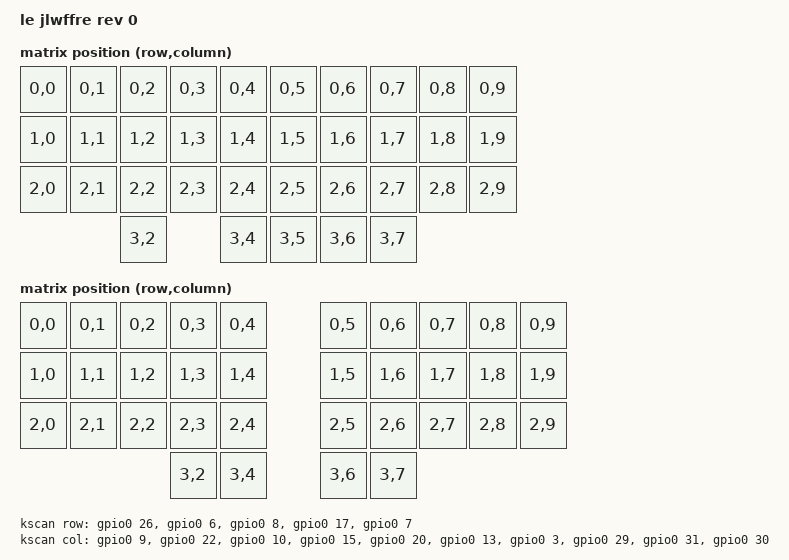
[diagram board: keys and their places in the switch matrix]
/*
 * Copyright (c) 2024 The ZMK Contributors
 *
 * SPDX-License-Identifier: MIT
 */

/dts-v1/;
#include <nordic/nrf52840_qiaa.dtsi>

#include <physical_layouts.dtsi>
#include <dt-bindings/zmk/matrix_transform.h>

#include "le_jlwffre-pinctrl.dtsi"
#include "le_jlwffre-layouts.dtsi"

/ {
    model = "le jlwffre rev 0";
    compatible = "jlw-kb,jlwffre";

    chosen {
        zephyr,code-partition = &code_partition;
        zephyr,sram = &sram0;
        zephyr,flash = &flash0;
        zmk,battery = &fuelgauge;
        zmk,kscan = &side_band_behavior_triggers;
    };

    default_transform: keymap_transform_0 {
        compatible = "zmk,matrix-transform";
        columns = <10>;
        rows = <4>;
        map = <
            RC(0,0) RC(0,1) RC(0,2) RC(0,3) RC(0,4) RC(0,5) RC(0,6) RC(0,7) RC(0,8) RC(0,9)
            RC(1,0) RC(1,1) RC(1,2) RC(1,3) RC(1,4) RC(1,5) RC(1,6) RC(1,7) RC(1,8) RC(1,9)
            RC(2,0) RC(2,1) RC(2,2) RC(2,3) RC(2,4) RC(2,5) RC(2,6) RC(2,7) RC(2,8) RC(2,9)
                            RC(3,2)         RC(3,4) RC(3,5) RC(3,6) RC(3,7)
            >;
    };

    table_rase_transform: keymap_transform_1 {
        compatible = "zmk,matrix-transform";
        columns = <10>;
        rows = <4>;
        map = <
            RC(0,0) RC(0,1) RC(0,2) RC(0,3) RC(0,4) RC(0,5) RC(0,6) RC(0,7) RC(0,8) RC(0,9)
            RC(1,0) RC(1,1) RC(1,2) RC(1,3) RC(1,4) RC(1,5) RC(1,6) RC(1,7) RC(1,8) RC(1,9)
            RC(2,0) RC(2,1) RC(2,2) RC(2,3) RC(2,4) RC(2,5) RC(2,6) RC(2,7) RC(2,8) RC(2,9)
                            RC(3,2)         RC(3,4)         RC(3,6) RC(3,7)
            >;
    };

    kscan: kscan {
        compatible = "zmk,kscan-gpio-matrix";
        diode-direction = "col2row";
        wakeup-source;
        row-gpios
            = <&gpio0 26 (GPIO_ACTIVE_HIGH | GPIO_PULL_DOWN)>
            , <&gpio0  6 (GPIO_ACTIVE_HIGH | GPIO_PULL_DOWN)>
            , <&gpio0  8 (GPIO_ACTIVE_HIGH | GPIO_PULL_DOWN)>
            , <&gpio0 17 (GPIO_ACTIVE_HIGH | GPIO_PULL_DOWN)>
            , <&gpio0  7 (GPIO_ACTIVE_HIGH | GPIO_PULL_DOWN)>       /* soft off AND gate */
            ;
        col-gpios
            = <&gpio0  9 GPIO_ACTIVE_HIGH>
            , <&gpio0 22 GPIO_ACTIVE_HIGH>
            , <&gpio0 10 GPIO_ACTIVE_HIGH>
            , <&gpio0 15 GPIO_ACTIVE_HIGH>
            , <&gpio0 20 GPIO_ACTIVE_HIGH>
            , <&gpio0 13 GPIO_ACTIVE_HIGH>
            , <&gpio0  3 GPIO_ACTIVE_HIGH>
            , <&gpio0 29 GPIO_ACTIVE_HIGH>
            , <&gpio0 31 GPIO_ACTIVE_HIGH>
            , <&gpio0 30 GPIO_ACTIVE_HIGH>
            ;
    };

    sensors: sensors {
        compatible = "zmk,keymap-sensors";
        sensors = <&encoder>;
        triggers-per-rotation = <20>;
    };

//  leds {
//      compatible = "gpio-leds";
//      blue_led: led_0 {
//          gpios = <&gpio1 0 GPIO_ACTIVE_HIGH>;
//      };
//      green_led: led_1 {
//          gpios = <&gpio1 2 GPIO_ACTIVE_HIGH>;
//      };
//  };

    /* begin soft off feature */

    keys {
        compatible = "gpio-keys";
        wakeup_key: wakeup_key {
            gpios = <&gpio0 7 (GPIO_ACTIVE_HIGH | GPIO_PULL_DOWN)>;
        };
    };

    behaviors {
        hw_soft_off: hw_soft_off {
            compatible = "zmk,behavior-soft-off";
            #binding-cells = <0>;
            hold-time-ms = <5000>;
        };
    };

    side_band_behavior_triggers: side_band_behavior_triggers {
        compatible = "zmk,kscan-sideband-behaviors";
        wakeup-source;
        kscan = <&kscan>;
        soft_off {
            column = <5>;
            row = <4>;
            bindings = <&hw_soft_off>;
        };
    };

    wakeup_source: wakeup_source {
        compatible = "zmk,gpio-key-wakeup-trigger";

        trigger = <&wakeup_key>;
        wakeup-source;
        extra-gpios
            = <&gpio0 13 GPIO_ACTIVE_HIGH>
            ;
    };

    soft_off_wakers {
        compatible = "zmk,soft-off-wakeup-sources";
        wakeup-sources = <&wakeup_source>;
    };

    /* end soft off feature */

};

encoder: &qdec0 {
    status = "okay";
    led-pre = <0>;
    steps = <80>;
    pinctrl-0 = <&qdec_default>;
    pinctrl-1 = <&qdec_sleep>;
    pinctrl-names = "default", "sleep";
};

&gpio0 {
    status = "okay";
};

&gpio1 {
    status = "okay";
};

zephyr_udc0: &usbd {
    status = "okay";
};

&i2c0 {
    status = "okay";
    compatible = "nordic,nrf-twim";
    pinctrl-0 = <&i2c0_default>;
    pinctrl-1 = <&i2c0_sleep>;
    pinctrl-names = "default", "sleep";
    clock-frequency = <100000>;

    fuelgauge: max17048@36 {
        compatible = "zmk,maxim-max17048";
        reg = <0x36>;
    };
};

&flash0 {
    /*
     * For more information, see:
     * http://docs.zephyrproject.org/latest/devices/dts/flash_partitions.html
     */
    partitions {
        compatible = "fixed-partitions";
        #address-cells = <1>;
        #size-cells = <1>;

        sd_partition: partition@0 {
            label = "softdevice";
            reg = <0x00000000 0x00026000>;
        };
        code_partition: partition@26000 {
            label = "code_partition";
            reg = <0x00026000 0x000c6000>;
        };

        /*
         * The flash starting at 0x000ec000 and ending at
         * 0x000f3fff is reserved for use by the application.
         */

        /*
         * Storage partition will be used by FCB/LittleFS/NVS
         * if enabled.
         */
        storage_partition: partition@ec000 {
            label = "storage";
            reg = <0x000ec000 0x00008000>;
        };

        boot_partition: partition@f4000 {
            label = "adafruit_boot";
            reg = <0x000f4000 0x0000c000>;
        };
    };
};
